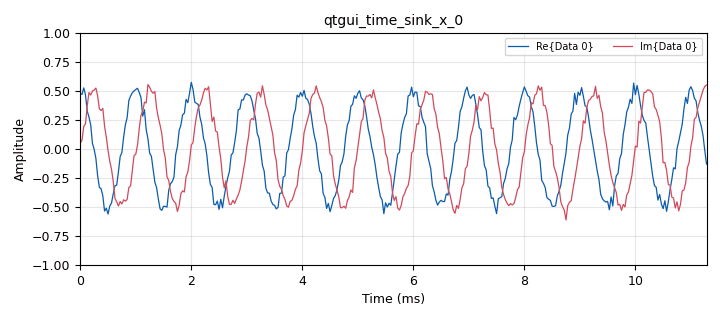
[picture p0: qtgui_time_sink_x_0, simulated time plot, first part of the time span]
<?xml version='1.0' encoding='utf-8'?>
<?grc format='1' created='3.7.13'?>
<flow_graph>
<block>
<key>options</key>
<param><key>id</key><value>top_block</value></param>
<param><key>generate_options</key><value>qt_gui</value></param>
</block>
<block>
<key>variable</key>
<param><key>id</key><value>samp_rate</value></param>
<param><key>value</key><value>32000</value></param>
</block>
<block>
<key>analog_noise_source_x</key>
<param><key>id</key><value>analog_noise_source_x_0</value></param>
<param><key>amp</key><value>0.1</value></param>
<param><key>noise_type</key><value>analog.GR_GAUSSIAN</value></param>
<param><key>type</key><value>complex</value></param>
<param><key>seed</key><value>0</value></param>
</block>
<block>
<key>analog_sig_source_x</key>
<param><key>id</key><value>analog_sig_source_x_0</value></param>
<param><key>amp</key><value>1</value></param>
<param><key>freq</key><value>1000</value></param>
<param><key>offset</key><value>0</value></param>
<param><key>type</key><value>complex</value></param>
<param><key>samp_rate</key><value>samp_rate</value></param>
<param><key>waveform</key><value>analog.GR_COS_WAVE</value></param>
</block>
<block>
<key>epy_block</key>
<param><key>id</key><value>epy_block_0</value></param>
<param><key>_source_code</key><value>from gnuradio import gr
import numpy as np
 
# Se recomienda que el nombre de la clase finalice con una o dos letras especiales:
# nombre_ff: cuando en el bloque sus entradas y salidas son senales reales y de tipo flotante
# nombre_f: el bloque solo tiene una entrada o una salida y es una senal real de tipo flotante
# En vez de "f" pueden usarse: c (senal compleja),  i (entera), b (binaria), etc.
# Nota: esta plantilla tambien puede ser consultada en la libreria comdig_Lib_Bloques, dentro del bloque b_help
 
class e_add_cc(gr.sync_block):  
    """Aqui debes explicar como funciona el bloque, los parametros usados. En este caso particular el proposito es que esta clase sirva como ejemplo o plantilla para otras clase. La idea es que cada vez que vayas a crear una clase para un bloque GNU Radio vuelvas aqui ya que no es facil memorizar todos los detalles para crear un bloque GNU Radio. En todo caso, el ejemplo consiste en un bloque para una suma escalada de dos senales complejas. Por lo tanto hay dos senales de entrada y una de salida. Si escala=0.5 lo que se logra es promediar las dos senales"""
 
    # Dentro de la funcion __init__(), deben definirse los parametros de configuracion del bloque.
    # A cada parametro se le da un valor por defecto
    # ejemplo 1, solo hay un parametro de configuracion: def __init__(self, amp=1.0)
    # ejemplo 2, hay dos parametros: def __init__(self, amp=1.0, samp_rate= 32000)
    # a continuacion esta el caso de un solo parametro que hemos llamado escala
    def __init__(self, escala=0.5):
 
        # En la siguiente funcion debes recordar que usaras:
        # sync: cuando tu bloque sea un bloque de tipo sincrono (por cada muestra entrante habra una saliente)
        # decim: cuando es un bloque decimador (por cada muestra saliente hay un numero entero de muestras entrantes)
        # interp: cuando es un bloque interpolador (por cada muestra entrante hay un numero entero de muestras salientes)
        # basic: cuando no hay relacion entre el numero de muestras entrantes y las salientes
        # mas en: https://wiki.gnuradio.org/index.php/Guided_Tutorial_GNU_Radio_in_Python#3.3.1._Choosing_a_Block_Type
        gr.sync_block.__init__(
            self,
 
            # Lo siguiente es para definir el nombre que tendra nuestro bloque para los usuarios de GRC
            name='Plantilla_para_crear_bloques_cc', 
 
            # A continuacion se definen los tipos de senales de entrada y salida. Veamos algunos ejemplos:
            # [np.complex64]: cuando se tiene una sola senal y es compleja
            # [np.float32]: cuando se tiene una sola senal y es de tipo real y flotante
            # [np.float32, np.complex64]: cuando hay dos senales: una de tipo real flotante y la otra es compleja
            # otros casos: int8 o byte (entero de 8 bits, que en C++ se conoce como char)
            # No hemos explorado mas casos, pero no es tan sencillo. Uno supondria que otros casos posibles son:
            # int16 (en C++ se conoce como short), int32, int64. Los dos primeros funcionan, pero int64 no.
            # En el siguiente ejemplo hay dos entradas complejas y una salida real.
            in_sig=[np.complex64,np.complex64], 
            out_sig=[np.complex64]
        )
 
        # las variables que entran como parametros del bloque deben ser declaradas nuevamente asi:
        self.escala=escala
 
        # abajo se puede escribir lo que se le antoje al programador, por ejemplo:
        # self.coef=1.0: define la variable global coef y le asigna el valor 1.0
        # self significa que es una variable global, que se puede invocar directamente desde otras funciones.
        # En todo caso, para las cosas que se definan aqui hay que tener en cuenta que:
        # -  esto es parte del constructor de la clase, por lo tanto, por cada bloque que se cree con esta clase
        #    estas cosas se invocaran solo una vez
        # -  Se supone que lo que se cree aqui es para ser usado, de manera que deberia ser usado en work()
        # A continuacion vamos a suponer que necesitamos usar constante  coef=1.0
        self.coef = 1.0
 
    # La funcion work() siempre debe estar presente en un bloque. Es alli donde estara la logica del bloque 
    
    def work(self, input_items, output_items):
        in0 = input_items[0]
        in1 = input_items[1]
        out0 = output_items[0]
        out0[:]=(in0+in1)*self.escala/self.coef
        return len(out0)
</value></param>
<param><key>escala</key><value>0.5</value></param>
</block>
<block>
<key>qtgui_time_sink_x</key>
<param><key>id</key><value>qtgui_time_sink_x_0</value></param>
<param><key>color1</key><value>"blue"</value></param>
<param><key>label1</key><value></value></param>
<param><key>color2</key><value>"red"</value></param>
<param><key>label2</key><value></value></param>
<param><key>size</key><value>1024</value></param>
<param><key>srate</key><value>samp_rate</value></param>
<param><key>type</key><value>complex</value></param>
</block>
<connection><source_block_id>analog_noise_source_x_0</source_block_id><sink_block_id>epy_block_0</sink_block_id><source_key>0</source_key><sink_key>0</sink_key></connection>
<connection><source_block_id>analog_sig_source_x_0</source_block_id><sink_block_id>epy_block_0</sink_block_id><source_key>0</source_key><sink_key>1</sink_key></connection>
<connection><source_block_id>epy_block_0</source_block_id><sink_block_id>qtgui_time_sink_x_0</sink_block_id><source_key>0</source_key><sink_key>0</sink_key></connection>
</flow_graph>
